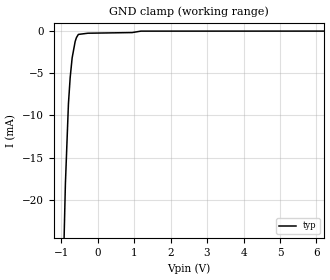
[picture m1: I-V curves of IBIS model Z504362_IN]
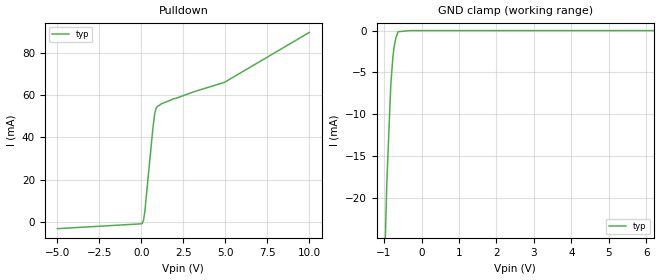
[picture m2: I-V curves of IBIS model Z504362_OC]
| YOU ARE ONLY AUTHORIZED TO USE THIS SOFTWARE
| ACCORDING TO LICENSOR'S LICENSE RESTRICTIONS.
[IBIS Ver] 3.1
[File Name] sn54ls09j.ibs
[File Rev] 2.0
[Source] Measured and created by ICX Technology
[Date] Friday 7/14/00 9:08:13 AM
[Copyright]
| (C) COPYRIGHT 1993-2000
| MENTOR GRAPHICS CORPORATION
| ICX STANDARD LIBRARY, ICX PROJECT MODELING,
| ICX CUSTOM MODELING, ICX VENDOR MODEL
| ALL RIGHTS RESERVED.
| THE FOLLOWING ARE TRADEMARKS OR SERVICE MARKS OF
| MENTOR GRAPHICS CORPORATION:ICX (R), ICX STANDARD
| LIBRARY(R), ICX PROJECT MODELING(R), ICX CUSTOM
| MODELING(R), qualityIBIS(TM), MODELVIEWER(TM),
| AND MODELEDITOR(TM)
| ALL COPIES OF SOFTWARE, INCLUDING BUT NOT LIMITED TO
| ANY MODIFICATIONS, ENHANCEMENTS OR DERIVATIVE WORKS,
| MUST CONTAIN ALL MENTOR GRAPHICS CORPORATION'S
| NOTICES AND LEGENDS, INCLUDING THOSE EMBEDDED IN
| SOFTWARE AND THOSE AFFIXED TO SOFTWARE MEDIUM
| AND CONTAINER, AS RECEIVED FROM MENTOR GRAPHICS
| CORPORATION.
|  ZAP Model Builder 2.7
[Component] SN54LS09J
[Manufacturer] OnSemiconductor
[Package]
| variable   typ   min   max
R_pkg  .21ohms NA NA
L_pkg  4.543nH NA NA
C_pkg  1.8pF NA NA
[Pin] signal_name  model_name  R_pin  L_pin C_pin
1 A Z504362_IN .22 6.757n 2.434p
2 B Z504362_IN .212 4.757n 1.941p
3 Y Z504362_OC .204 3.257n 1.448p
4 A Z504362_IN .196 2.257n .955p
5 B Z504362_IN .204 3.257n 1.448p
6 Y Z504362_OC .212 4.757n 1.941p
7 GND GND .22 6.757n 2.434p
8 Y Z504362_OC .22 6.757n 2.434p
9 A Z504362_IN .212 4.757n 1.941p
10 B Z504362_IN .204 3.257n 1.448p
11 Y Z504362_OC .196 2.257n .955p
12 A Z504362_IN .204 3.257n 1.448p
13 B Z504362_IN .212 4.757n 1.941p
14 VCC POWER .22 6.757n 2.434p
| Models and submodels in the file (2): Z504362_IN (Input), Z504362_OC (Open_sink)
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| (C) COPYRIGHT 1993-2000
| MENTOR GRAPHICS CORPORATION
| ICX STANDARD LIBRARY, ICX PROJECT MODELING,
| ICX CUSTOM MODELING, ICX VENDOR MODEL
| ALL RIGHTS RESERVED.
| THE FOLLOWING ARE TRADEMARKS OR SERVICE MARKS OF
| MENTOR GRAPHICS CORPORATION:ICX (R), ICX STANDARD
| LIBRARY(R), ICX PROJECT MODELING(R), ICX CUSTOM
| MODELING(R), qualityIBIS(TM), MODELVIEWER(TM),
| AND MODELEDITOR(TM)
| ALL COPIES OF SOFTWARE, INCLUDING BUT NOT LIMITED TO
| ANY MODIFICATIONS, ENHANCEMENTS OR DERIVATIVE WORKS,
| MUST CONTAIN ALL MENTOR GRAPHICS CORPORATION'S
| NOTICES AND LEGENDS, INCLUDING THOSE EMBEDDED IN
| SOFTWARE AND THOSE AFFIXED TO SOFTWARE MEDIUM
| AND CONTAINER, AS RECEIVED FROM MENTOR GRAPHICS
| CORPORATION.
| Model Application Version 1.89 2/18/99.
[Model] Z504362_IN
Model_type Input
Vinl = 800.0mV
Vinh = 2.000V
C_comp 4.000pF NA NA
| variable typ   min   max
[Voltage Range] 5.000V NA NA
[GND Clamp Reference] 0.000V NA NA
[POWER Clamp Reference] 5.000V NA NA
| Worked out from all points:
|   GND clamp passes 1 mA (typ) near -0.60 V on its own axis
[GND Clamp]
-5V       -760.6mA   NA         NA
-882.9mV  -18.13mA   NA         NA
-799.5mV  -8.616mA   NA         NA
-752mV    -5.521mA   NA         NA
-698.1mV  -3.186mA   NA         NA
-615.2mV  -1.233mA   NA         NA
-581.1mV  -780.9uA   NA         NA
-527.3mV  -394.7uA   NA         NA
-263.7mV  -251.9uA   NA         NA
946.6mV   -175.6uA   NA         NA
1.187V    -4.366uA   NA         NA
10V       88.87nA    NA         NA
[POWER Clamp]
-5V       0A         NA         NA
10V       0A         NA         NA
| (C) COPYRIGHT 1993-2000
| MENTOR GRAPHICS CORPORATION
| ICX STANDARD LIBRARY, ICX PROJECT MODELING,
| ICX CUSTOM MODELING, ICX VENDOR MODEL
| ALL RIGHTS RESERVED.
| THE FOLLOWING ARE TRADEMARKS OR SERVICE MARKS OF
| MENTOR GRAPHICS CORPORATION:ICX (R), ICX STANDARD
| LIBRARY(R), ICX PROJECT MODELING(R), ICX CUSTOM
| MODELING(R), qualityIBIS(TM), MODELVIEWER(TM),
| AND MODELEDITOR(TM)
| ALL COPIES OF SOFTWARE, INCLUDING BUT NOT LIMITED TO
| ANY MODIFICATIONS, ENHANCEMENTS OR DERIVATIVE WORKS,
| MUST CONTAIN ALL MENTOR GRAPHICS CORPORATION'S
| NOTICES AND LEGENDS, INCLUDING THOSE EMBEDDED IN
| SOFTWARE AND THOSE AFFIXED TO SOFTWARE MEDIUM
| AND CONTAINER, AS RECEIVED FROM MENTOR GRAPHICS
| CORPORATION.
| Model Application Version 1.89 2/18/99.
[Model] Z504362_OC
Model_type Open_sink
Vref=5.000V
Rref=2.000kohms
Cref=15.00pF
Vmeas=1.300V
C_comp 8.000pF NA NA
| variable typ   min   max
[Voltage Range] 5.000V NA NA
[POWER Clamp Reference] 5.000V NA NA
[Pullup Reference] 5.000V NA NA
[Pulldown Reference] 0.000V NA NA
[GND Clamp Reference] 0.000V NA NA
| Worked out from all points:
|   slope of the pulldown table from 0 to 0.75 V, typ, clamps not added: 15.1 ohm
|   GND clamp passes 1 mA (typ) near -0.69 V on its own axis
[GND Clamp]
-5V       -1.008A    NA         NA
-1.22V    -76.56mA   NA         NA
-1.042V   -38.16mA   NA         NA
-927.7mV  -18.39mA   NA         NA
-819.5mV  -6.456mA   NA         NA
-763.9mV  -3.159mA   NA         NA
-726.9mV  -1.82mA    NA         NA
-683.6mV  -881uA     NA         NA
-625mV    -139uA     NA         NA
-312.5mV  0A         NA         NA
10V       0A         NA         NA
[Pulldown]
-5V       -3.332mA   NA         NA
48.83mV   -837.5uA   NA         NA
131.7mV   734.7uA    NA         NA
205mV     4.702mA    NA         NA
678.4mV   43.83mA    NA         NA
771.9mV   50.1mA     NA         NA
810.5mV   51.89mA    NA         NA
908.7mV   54.3mA     NA         NA
1.224V    56.13mA    NA         NA
1.899V    58.42mA    NA         NA
4.941V    66.2mA     NA         NA
10V       89.95mA    NA         NA
[POWER Clamp]
-5V       0A         NA         NA
10V       0A         NA         NA
[Ramp]
| variable typ min max
dV/dt_r 2.777/15.41n NA NA
dV/dt_f 2.777/3.957n NA NA
R_load = 250.0Ohms
